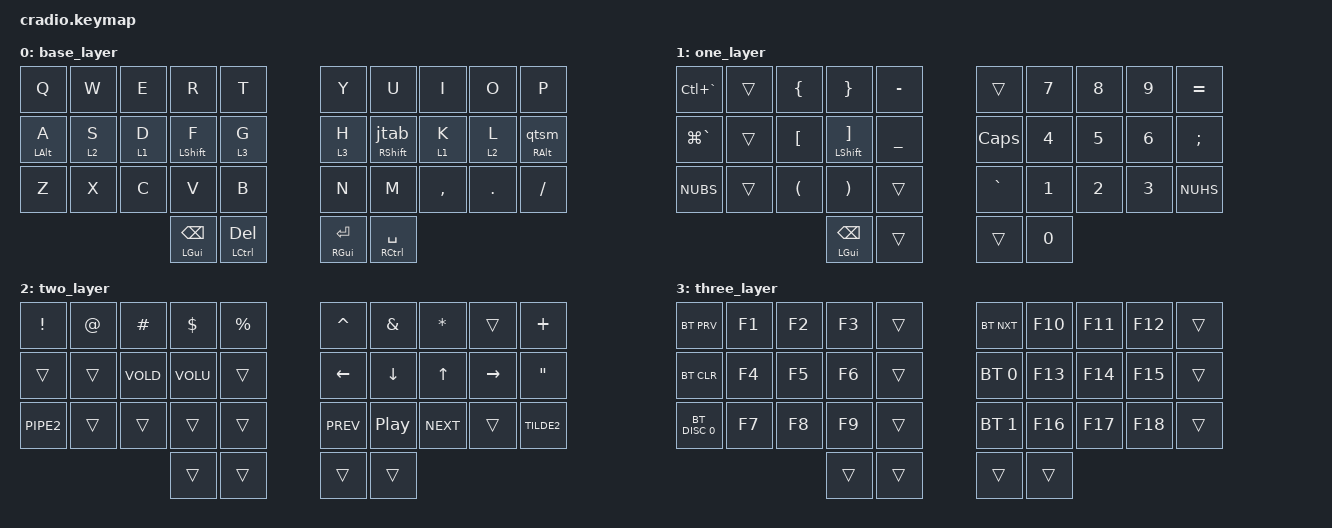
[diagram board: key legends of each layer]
// Copyright (c) 2022 The ZMK Contributors
// SPDX-License-Identifier: MIT

#include <behaviors.dtsi>
#include <dt-bindings/zmk/keys.h>
#include <dt-bindings/zmk/bt.h>

// Home row mods macros.
#define HRM_TAPPING_TERM 200
#define HRML(k1,k2,k3,k4) &hml LCTRL k1  &hml LALT k2  &hml LGUI k3  &hml LSHFT k4
#define HRMR(k1,k2,k3,k4) &hmr RSHFT k1  &hmr RGUI k2  &hmr RALT k3  &hmr RCTRL k4
#define A_ALT &hml LALT A
#define S_L2 &ltl 2 S
#define D_L1 &ltl 1 D
#define F_SFT &hml LSHFT F
#define RBKT_SFT &hml LSHFT RBKT
#define J_SFT &jht RSHFT 0
#define K_L1 &ltr 1 K
#define L_L2 &ltr 2 L
#define QT_ALT &qht RALT 0
#define BSPC_GUI &hml LGUI BSPC
#define DEL_CTL &hml LCTRL DEL
#define ENTER_GUI &hmr RGUI ENTER
#define SPACE_CTL &hmr RCTRL SPACE
#define BTPRV &bt BT_PRV
#define BTNXT &bt BT_NXT
#define BTCLR &bt BT_CLR
#define BT0 &bt BT_SEL 0
#define BT1 &bt BT_SEL 1
#define BTDISC0 &bt BT_DISC 0

/ {
    behaviors {

        hml: homerow_mod_left {
            compatible = "zmk,behavior-hold-tap";
            #binding-cells = <2>;
            flavor = "balanced";
            tapping-term-ms = <HRM_TAPPING_TERM>;
            quick-tap-ms = <200>;
            require-prior-idle-ms = <100>;
            hold-trigger-key-positions = <5 6 7 8 9 15 16 17 18 19 25 26 27 28 29 32 33>;
            bindings = <&kp>, <&kp>;
        };

        hmr: homerow_mod_right {
            compatible = "zmk,behavior-hold-tap";
            #binding-cells = <2>;
            flavor = "balanced";
            tapping-term-ms = <HRM_TAPPING_TERM>;
            quick-tap-ms = <200>;
            require-prior-idle-ms = <100>;
            hold-trigger-key-positions = <0 1 2 3 4 10 11 12 13 14 20 21 22 23 24 30 31>;
            bindings = <&kp>, <&kp>;
        };

        ltl: layer_tap_left {
            compatible = "zmk,behavior-hold-tap";
            #binding-cells = <2>;
            flavor = "balanced";
            tapping-term-ms = <HRM_TAPPING_TERM>;
            quick-tap-ms = <200>;
            require-prior-idle-ms = <100>;
            hold-trigger-key-positions = <5 6 7 8 9 15 16 17 18 19 25 26 27 28 29 32 33>;
            bindings = <&mo>, <&kp>;
        };

        ltr: layer_tap_right {
            compatible = "zmk,behavior-hold-tap";
            #binding-cells = <2>;
            flavor = "balanced";
            tapping-term-ms = <HRM_TAPPING_TERM>;
            quick-tap-ms = <200>;
            require-prior-idle-ms = <100>;
            hold-trigger-key-positions = <0 1 2 3 4 10 11 12 13 14 20 21 22 23 24 30 31>;
            bindings = <&mo>, <&kp>;
        };

        jtab: j_or_tab {
            compatible = "zmk,behavior-mod-morph";
            #binding-cells = <0>;
            bindings = <&kp J>, <&kp TAB>;
            mods = <(MOD_LGUI|MOD_RGUI|MOD_LCTL|MOD_RCTL)>;
            keep-mods = <(MOD_LGUI|MOD_RGUI|MOD_LCTL|MOD_RCTL)>;
        };

        qtsm: quote_or_semi {
            compatible = "zmk,behavior-mod-morph";
            #binding-cells = <0>;
            bindings = <&kp SQT>, <&kp SEMI>;
            mods = <(MOD_LSFT|MOD_RSFT)>;
            keep-mods = <(MOD_LSFT|MOD_RSFT)>;
        };

        jht: j_hold_tap {
            compatible = "zmk,behavior-hold-tap";
            #binding-cells = <2>;
            flavor = "balanced";
            tapping-term-ms = <HRM_TAPPING_TERM>;
            quick-tap-ms = <200>;
            require-prior-idle-ms = <100>;
            hold-trigger-key-positions = <0 1 2 3 4 10 11 12 13 14 20 21 22 23 24 30 31>;
            bindings = <&kp>, <&jtab>;
        };

        qht: quote_hold_tap {
            compatible = "zmk,behavior-hold-tap";
            #binding-cells = <2>;
            flavor = "balanced";
            tapping-term-ms = <HRM_TAPPING_TERM>;
            quick-tap-ms = <200>;
            require-prior-idle-ms = <100>;
            hold-trigger-key-positions = <0 1 2 3 4 10 11 12 13 14 20 21 22 23 24 30 31>;
            bindings = <&kp>, <&qtsm>;
        };
    };

    combos {
        compatible = "zmk,combos";

        combo_tab {
            timeout-ms = <50>;
            key-positions = <12 13>;
            bindings = <&kp TAB>;
        };

        combo_esc {
            timeout-ms = <50>;
            key-positions = <16 17>;
            bindings = <&kp ESC>;
        };
    };

    keymap {
        compatible = "zmk,keymap";
        base_layer {
            bindings = <
        //╭──────────────┬──────────────┬──────────────┬──────────────┬──────────────╮   ╭──────────────┬──────────────┬──────────────┬──────────────┬──────────────╮
        //│ Q            │ W            │ E            │ R            │ T            │   │ Y            │ U            │ I            │ O            │ P            │
            &kp Q          &kp W          &kp E          &kp R          &kp T              &kp Y          &kp U          &kp I          &kp O          &kp P
        //├──────────────┼──────────────┼──────────────┼──────────────┼──────────────┤   ├──────────────┼──────────────┼──────────────┼──────────────┼──────────────┤
        //│ A            │ S            │ D            │ F            │ G            │   │ H            │ J            │ K            │ L            │ '            │
            A_ALT          S_L2           D_L1           F_SFT          &lt 3 G            &lt 3 H        J_SFT          K_L1           L_L2           QT_ALT
        //├──────────────┼──────────────┼──────────────┼──────────────┼──────────────┤   ├──────────────┼──────────────┼──────────────┼──────────────┼──────────────┤
        //│ Z            │ X            │ C            │ V            │ B            │   │ N            │ M            │ , <          │ . >          │ / ?          │
            &kp Z          &kp X          &kp C          &kp V          &kp B              &kp N          &kp M          &kp COMMA      &kp DOT        &kp FSLH
        //╰──────────────┴──────────────┴──────────────┼──────────────┼──────────────┤   ├──────────────┼──────────────┼──────────────┴──────────────┴──────────────╯
        //                                             │ BSPC         │ DEL          │   │ ENTER        │ SPACE        │
                                                         BSPC_GUI       DEL_CTL            ENTER_GUI      SPACE_CTL
        //                                             ╰──────────────┴──────────────╯   ╰──────────────┴──────────────╯
            >;
        };

        one_layer {
            bindings = <
        //╭──────────────┬──────────────┬──────────────┬──────────────┬──────────────╮   ╭──────────────┬──────────────┬──────────────┬──────────────┬──────────────╮
        //│ C-`          │              │ {            │ }            │ -            │   │              │ 7            │ 8            │ 9            │ =            │
            &kp LC(GRAVE)  &trans         &kp LBRC       &kp RBRC       &kp MINUS          &trans         &kp N7         &kp N8         &kp N9         &kp EQUAL
        //├──────────────┼──────────────┼──────────────┼──────────────┼──────────────┤   ├──────────────┼──────────────┼──────────────┼──────────────┼──────────────┤
        //│ G-`          │              │ [            │ ]            │ _            │   │ CAPS         │ 4            │ 5            │ 6            │ ;            │
            &kp LG(GRAVE)  &trans         &kp LBKT       RBKT_SFT       &kp UNDER          &kp CAPS       &kp N4         &kp N5         &kp N6         &kp SEMI
        //├──────────────┼──────────────┼──────────────┼──────────────┼──────────────┤   ├──────────────┼──────────────┼──────────────┼──────────────┼──────────────┤
        //│ \ |          │              │ (            │ )            │              │   │ `            │ 1            │ 2            │ 3            │ # ~          │
            &kp NUBS       &trans         &kp LPAR       &kp RPAR       &trans             &kp GRAVE      &kp N1         &kp N2         &kp N3         &kp NUHS
        //╰──────────────┴──────────────┴──────────────┼──────────────┼──────────────┤   ├──────────────┼──────────────┼──────────────┴──────────────┴──────────────╯
        //                                             │ BSPC         │              │   │              │ 0            │
                                                         BSPC_GUI       &trans             &trans         &kp N0
        //                                             ╰──────────────┴──────────────╯   ╰──────────────┴──────────────╯
            >;
        };

        two_layer {
            bindings = <
        //╭──────────────┬──────────────┬──────────────┬──────────────┬──────────────╮   ╭──────────────┬──────────────┬──────────────┬──────────────┬──────────────╮
        //│ !            │ @            │ #            │ $            │ %            │   │ ^            │ &            │ *            │              │ +            │
            &kp EXCL       &kp AT         &kp HASH       &kp DLLR       &kp PRCNT          &kp CARET      &kp AMPS       &kp ASTRK      &trans         &kp PLUS
        //├──────────────┼──────────────┼──────────────┼──────────────┼──────────────┤   ├──────────────┼──────────────┼──────────────┼──────────────┼──────────────┤
        //│              │              │ VOL-         │ VOL+         │              │   │ LEFT         │ DOWN         │ UP           │ RIGHT        │ "            │
            &trans         &trans         &kp VOLD       &kp VOLU       &trans             &kp LEFT       &kp DOWN       &kp UP         &kp RIGHT      &kp DQT
        //├──────────────┼──────────────┼──────────────┼──────────────┼──────────────┤   ├──────────────┼──────────────┼──────────────┼──────────────┼──────────────┤
        //│ |            │              │              │              │              │   │ PREV         │ PLAY         │ NEXT         │              │ ~            │
            &kp PIPE2      &trans         &trans         &trans         &trans             &kp C_PREV     &kp C_PP       &kp C_NEXT     &trans         &kp TILDE2
        //╰──────────────┴──────────────┴──────────────┼──────────────┼──────────────┤   ├──────────────┼──────────────┼──────────────┴──────────────┴──────────────╯
        //                                             │              │              │   │              │              │
                                                         &trans         &trans             &trans         &trans
        //                                             ╰──────────────┴──────────────╯   ╰──────────────┴──────────────╯
            >;
        };

        three_layer {
            bindings = <
        //╭──────────────┬──────────────┬──────────────┬──────────────┬──────────────╮   ╭──────────────┬──────────────┬──────────────┬──────────────┬──────────────╮
        //│ BT PRV       │ F1           │ F2           │ F3           │              │   │ BT NXT       │ F10          │ F11          │ F12          │              │
            BTPRV          &kp F1         &kp F2         &kp F3         &trans             BTNXT          &kp F10        &kp F11        &kp F12        &trans
        //├──────────────┼──────────────┼──────────────┼──────────────┼──────────────┤   ├──────────────┼──────────────┼──────────────┼──────────────┼──────────────┤
        //│ BT CLR       │ F4           │ F5           │ F6           │              │   │ BT 0         │ F13          │ F14          │ F15          │              │
            BTCLR          &kp F4         &kp F5         &kp F6         &trans             BT0            &kp F13        &kp F14        &kp F15        &trans
        //├──────────────┼──────────────┼──────────────┼──────────────┼──────────────┤   ├──────────────┼──────────────┼──────────────┼──────────────┼──────────────┤
        //│ DISC 0       │ F7           │ F8           │ F9           │              │   │ BT 1         │ F16          │ F17          │ F18          │              │
            BTDISC0        &kp F7         &kp F8         &kp F9         &trans             BT1            &kp F16        &kp F17        &kp F18        &trans
        //╰──────────────┴──────────────┴──────────────┼──────────────┼──────────────┤   ├──────────────┼──────────────┼──────────────┴──────────────┴──────────────╯
        //                                             │              │              │   │              │              │
                                                         &trans         &trans             &trans         &trans
        //                                             ╰──────────────┴──────────────╯   ╰──────────────┴──────────────╯
            >;
        };
    };
};
